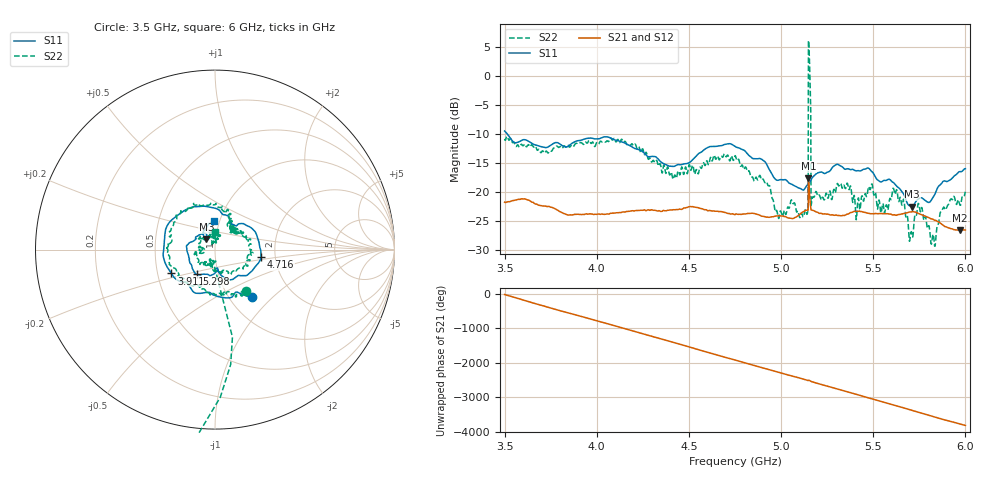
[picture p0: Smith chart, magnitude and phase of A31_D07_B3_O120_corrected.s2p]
! Created with skrf 1.9.0 (http://scikit-rf.org).
# Hz S RI R 50.0
!freq ReS11 ImS11 ReS21 ImS21 ReS12 ImS12 ReS22 ImS22
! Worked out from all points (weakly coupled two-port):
!   1601 points, 3.5 GHz to 6 GHz, reference 50 ohm
!   highest |S21| = -17.65 dB at 5.148 GHz (marker M1); lowest = -26.6 dB at 5.97 GHz (marker M2)
!   lowest |S11| = -22.6 dB at 5.711 GHz (marker M3), VSWR 1.16, Z = 45.1 + j5.16 ohm
!   |S11| at or under -10 dB: 3.514 GHz to end of sweep
!   |S22| runs from -29.4 to 6.1 dB; largest |S21 - S12| = 0.001
!   S11 on the Smith chart (normalised r, x): 3.5 GHz: 1.28, -0.75; 3.911 GHz: 0.59, -0.17; 4.716 GHz: 1.68, -0.15; 5.298 GHz: 0.79, -0.22; 6 GHz: 0.94, +0.30
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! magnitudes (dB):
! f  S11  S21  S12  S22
! 3.5 GHz  -9.5  -21.8  -21.8  -10.9
! 3.911 GHz  -11.1  -23.9  -23.9  -11.5
! 3.917 GHz  -11.1  -23.9  -23.9  -11.6
! 4.334 GHz  -14.4  -23.3  -23.2  -15.6
! 4.716 GHz  -11.7  -23.7  -23.8  -14.1
! 4.75 GHz  -12.2  -23.9  -23.8  -13.8
! 4.98 GHz  -18.0  -24.2  -24.1  -23.6
! 5.111 GHz  -19.6  -23.6  -23.6  -23.7
! 5.134 GHz  -19.2  -23.2  -23.2  -23.3
! 5.148 GHz  -18.6  -17.6  -17.7  6.1
! 5.161 GHz  -18.0  -22.7  -22.6  -6.1
! 5.167 GHz  -17.7  -23.2  -23.1  -21.5
! 5.175 GHz  -17.4  -23.2  -23.2  -20.9
! 5.298 GHz  -15.3  -24.0  -24.0  -19.5
! 5.584 GHz  -17.8  -23.8  -23.8  -22.2
! 5.619 GHz  -18.7  -24.0  -24.0  -20.4
! 5.711 GHz  -22.6  -23.4  -23.4  -27.5
! 5.753 GHz  -21.1  -23.8  -23.8  -23.1
! 5.827 GHz  -20.9  -24.8  -24.8  -27.4
! 5.873 GHz  -18.4  -25.6  -25.6  -23.2
! 5.97 GHz  -16.5  -26.6  -26.6  -22.3
! 6 GHz  -16.0  -26.6  -26.5  -20.0
